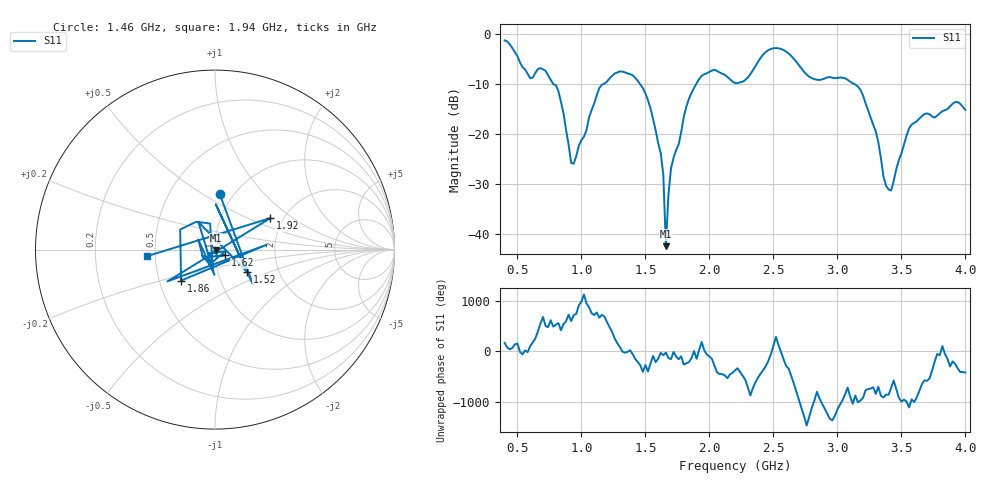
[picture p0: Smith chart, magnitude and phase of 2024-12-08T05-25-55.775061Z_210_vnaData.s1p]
!Created with skrf (http://scikit-rf.org).
# Hz S RI R 50.0
!freq ReS11 ImS11
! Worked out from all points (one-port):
!   181 points, 400 MHz to 4 GHz, reference 50 ohm
!   lowest |S11| = -42.5 dB at 1.66 GHz (marker M1), VSWR 1.02, Z = 50.7 - j0.308 ohm
!   |S11| at or under -10 dB: 778.5 MHz to 1.177 GHz (398.7 MHz wide, 40.8 % of centre); 1.456 GHz to 1.898 GHz (441.7 MHz wide, 26.3 % of centre); 3.129 GHz to end of sweep
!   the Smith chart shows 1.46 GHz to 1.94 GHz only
!   S11 on the Smith chart (normalised r, x): 1.46 GHz: 0.86, +0.59; 1.52 GHz: 1.38, -0.36; 1.62 GHz: 1.12, -0.07; 1.86 GHz: 0.65, -0.24; 1.92 GHz: 1.72, +0.69; 1.94 GHz: 0.45, -0.04
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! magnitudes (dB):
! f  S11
! 400 MHz  -1.3
! 600 MHz  -8.9
! 720 MHz  -7.4
! 860 MHz  -15.9
! 920 MHz  -25.8
! 940 MHz  -26.0
! 1.14 GHz  -10.8
! 1.3 GHz  -7.5
! 1.46 GHz  -10.1
! 1.52 GHz  -13.3
! 1.62 GHz  -23.9
! 1.64 GHz  -28.2
! 1.66 GHz  -42.5
! 1.68 GHz  -32.2
! 1.7 GHz  -26.9
! 1.76 GHz  -22.1
! 1.86 GHz  -11.8
! 1.92 GHz  -9.0
! 1.94 GHz  -8.4
! 2.2 GHz  -9.8
! 2.48 GHz  -3.0
! 2.66 GHz  -5.0
! 2.8 GHz  -8.9
! 3.1 GHz  -9.6
! 3.2 GHz  -12.3
! 3.4 GHz  -31.1
! 3.56 GHz  -18.9
! 4 GHz  -15.2
